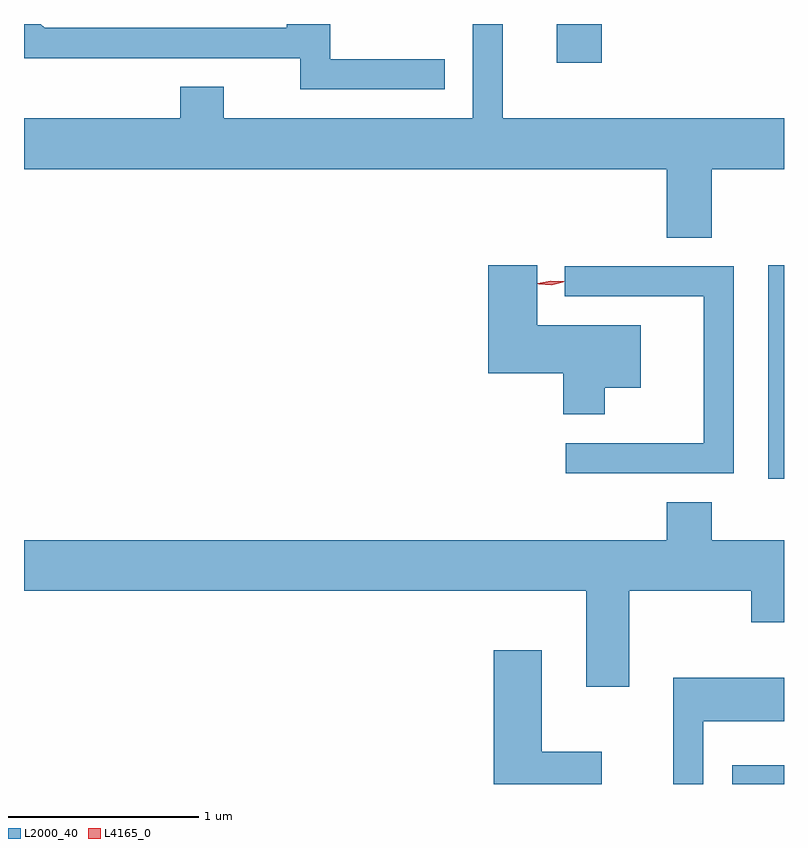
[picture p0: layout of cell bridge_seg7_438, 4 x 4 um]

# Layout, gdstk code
import gdstk
lib = gdstk.Library(unit=1e-6, precision=1e-09)
def R(c, l, rs):  # rectangles x0, y0, x1, y1
    for r in rs: c.add(gdstk.rectangle(r[:2], r[2:], *l))
def P(c, l, *ps):  # polygons
    for p in ps: c.add(gdstk.Polygon(p, *l))
L2000_40 = (2000, 40)
L4165_0 = (4165, 0)

bridge_seg7_438 = lib.new_cell('bridge_seg7_438')
R(bridge_seg7_438, L2000_40, [(1098.261,1697.76,1098.533,1697.859), (1098.451,1699.366,1098.533,1700.489), (1097.336,1701.556,1097.574,1701.76)])
P(bridge_seg7_438, L2000_40, [(1098.154,1700.996),(1098.533,1700.996),(1098.533,1701.264),(1097.054,1701.264),(1097.054,1701.76),(1096.896,1701.76),(1096.896,1701.264),(1095.584,1701.264),(1095.584,1701.429),(1095.356,1701.429),(1095.356,1701.264),(1094.533,1701.264),(1094.533,1700.996),(1097.916,1700.996),(1097.916,1700.636),(1098.154,1700.636)],
  [(1096.748,1701.574),(1096.144,1701.574),(1096.144,1701.76),(1095.916,1701.76),(1095.916,1701.739),(1094.642,1701.739),(1094.621,1701.76),(1094.533,1701.76),(1094.533,1701.581),(1095.986,1701.581),(1095.986,1701.416),(1096.748,1701.416)],
  [(1097.589,1699.846),(1097.779,1699.846),(1097.779,1700.174),(1097.234,1700.174),(1097.234,1700.489),(1096.976,1700.489),(1096.976,1699.921),(1097.371,1699.921),(1097.371,1699.706),(1097.589,1699.706)],
  [(1098.269,1700.484),(1097.378,1700.484),(1097.378,1700.326),(1098.111,1700.326),(1098.111,1699.554),(1097.383,1699.554),(1097.383,1699.396),(1098.269,1699.396)],
  [(1097.719,1698.776),(1098.361,1698.776),(1098.361,1698.611),(1098.533,1698.611),(1098.533,1699.044),(1098.154,1699.044),(1098.154,1699.244),(1097.916,1699.244),(1097.916,1699.044),(1094.533,1699.044),(1094.533,1698.776),(1097.491,1698.776),(1097.491,1698.271),(1097.719,1698.271)],
  [(1097.574,1697.929),(1097.259,1697.929),(1097.259,1698.464),(1097.006,1698.464),(1097.006,1697.76),(1097.574,1697.76)],
  [(1098.109,1698.091),(1098.533,1698.091),(1098.533,1698.319),(1097.951,1698.319),(1097.951,1697.76),(1098.109,1697.76)])
P(bridge_seg7_438, L4165_0, [(1097.307,1700.386),(1097.241,1700.389),(1097.24,1700.389),(1097.241,1700.39),(1097.305,1700.406),(1097.372,1700.403),(1097.372,1700.402),(1097.372,1700.402)],
  [(1097.308,1700.39),(1097.238,1700.394),(1097.237,1700.394),(1097.238,1700.395),(1097.306,1700.41),(1097.375,1700.405),(1097.376,1700.405),(1097.375,1700.404)])

lib.write_gds('bridge_seg7_438.gds')
